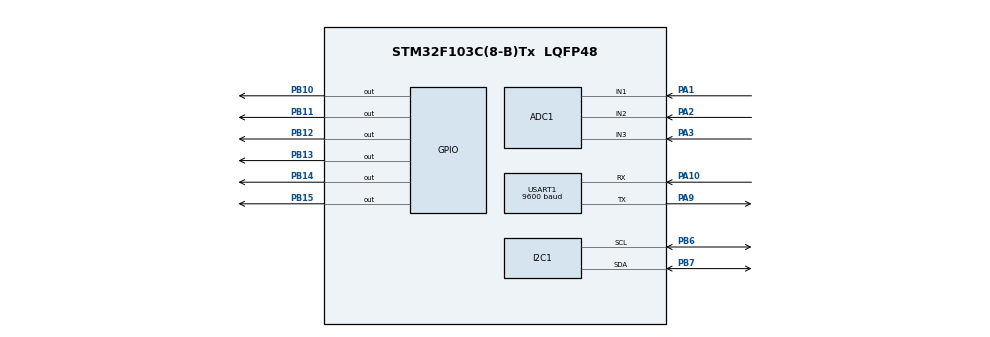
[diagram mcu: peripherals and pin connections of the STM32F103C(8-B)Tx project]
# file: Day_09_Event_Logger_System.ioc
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ADC1.Channel-0\#ChannelRegularConversion=ADC_CHANNEL_1
ADC1.NbrOfConversionFlag=1
ADC1.Rank-0\#ChannelRegularConversion=1
ADC1.SamplingTime-0\#ChannelRegularConversion=ADC_SAMPLETIME_1CYCLE_5
ADC1.master=1
Mcu.Family=STM32F1
Mcu.Name=STM32F103C(8-B)Tx
Mcu.Package=LQFP48
NVIC.PriorityGroup=NVIC_PRIORITYGROUP_4
PA1.Signal=ADCx_IN1
PA10.Mode=Asynchronous
PA10.Signal=USART1_RX
PA2.Signal=ADCx_IN2
PA3.Signal=ADCx_IN3
PA9.Mode=Asynchronous
PA9.Signal=USART1_TX
PB10.Signal=GPIO_Output
PB11.Signal=GPIO_Output
PB12.Signal=GPIO_Output
PB13.Signal=GPIO_Output
PB14.Signal=GPIO_Output
PB15.Signal=GPIO_Output
PB6.Mode=I2C
PB6.Signal=I2C1_SCL
PB7.Mode=I2C
PB7.Signal=I2C1_SDA
ProjectManager.HeapSize=0x200
ProjectManager.StackSize=0x400
ProjectManager.TargetToolchain=STM32CubeIDE
RCC.APB1Freq_Value=8000000
RCC.APB2Freq_Value=8000000
SH.ADCx_IN1.0=ADC1_IN1,IN1
SH.ADCx_IN2.0=ADC1_IN2,IN2
SH.ADCx_IN3.0=ADC1_IN3,IN3
USART1.BaudRate=9600
USART1.VirtualMode=VM_ASYNC
VP_SYS_VS_ND.Mode=No_Debug
board=custom

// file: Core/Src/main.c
/* USER CODE BEGIN Header */
/**
  ******************************************************************************
  * @file           : main.c
  * @brief          : Main program body
  ******************************************************************************
  * @attention
  *
  * Copyright (c) 2026 STMicroelectronics.
  * All rights reserved.
  *
  * This software is licensed under terms that can be found in the LICENSE file
  * in the root directory of this software component.
  * If no LICENSE file comes with this software, it is provided AS-IS.
  *
  ******************************************************************************
  */
/* USER CODE END Header */
#include "main.h"
#include <stdio.h>
#include <string.h>

ADC_HandleTypeDef hadc1;

I2C_HandleTypeDef hi2c1;

UART_HandleTypeDef huart1;

/* USER CODE BEGIN PV */
uint32_t gas_value = 0;
uint32_t temp_value = 0;
uint32_t distance_value = 0;

uint32_t gas_count = 0;
uint32_t temp_count = 0;
uint32_t intruder_count = 0;

char uart_buffer[300];

/* USER CODE END PV */

void SystemClock_Config(void);
static void MX_GPIO_Init(void);
static void MX_ADC1_Init(void);
static void MX_I2C1_Init(void);
static void MX_USART1_UART_Init(void);
/* USER CODE BEGIN PFP */
uint32_t Read_ADC(uint32_t channel);
void Check_Alerts(void);
void Send_Report(void);

/* USER CODE END PFP */

int main(void)
{

  /* MCU Configuration--------------------------------------------------------*/

  /* Reset of all peripherals, Initializes the Flash interface and the Systick. */
  HAL_Init();

  /* Configure the system clock */
  SystemClock_Config();

  /* Initialize all configured peripherals */
  MX_GPIO_Init();
  MX_ADC1_Init();
  MX_I2C1_Init();
  MX_USART1_UART_Init();
  /* USER CODE BEGIN 2 */
  HAL_ADCEx_Calibration_Start(&hadc1);

  /* USER CODE END 2 */

  /* Infinite loop */
  /* USER CODE BEGIN WHILE */
  while (1)
  {
      gas_value = Read_ADC(ADC_CHANNEL_1);
      temp_value = Read_ADC(ADC_CHANNEL_2);
      distance_value = Read_ADC(ADC_CHANNEL_3);

      gas_value = (gas_value * 100) / 4095;
      temp_value = (temp_value * 100) / 4095;
      distance_value = (distance_value * 100) / 4095;

      Check_Alerts();

      Send_Report();

      HAL_Delay(1000);
  }
  /* USER CODE END 3 */
}

void SystemClock_Config(void)
{
  RCC_OscInitTypeDef RCC_OscInitStruct = {0};
  RCC_ClkInitTypeDef RCC_ClkInitStruct = {0};
  RCC_PeriphCLKInitTypeDef PeriphClkInit = {0};

  /** Initializes the RCC Oscillators according to the specified parameters
  * in the RCC_OscInitTypeDef structure.
  */
  RCC_OscInitStruct.OscillatorType = RCC_OSCILLATORTYPE_HSI;
  RCC_OscInitStruct.HSIState = RCC_HSI_ON;
  RCC_OscInitStruct.HSICalibrationValue = RCC_HSICALIBRATION_DEFAULT;
  RCC_OscInitStruct.PLL.PLLState = RCC_PLL_NONE;
  if (HAL_RCC_OscConfig(&RCC_OscInitStruct) != HAL_OK)
  {
    Error_Handler();
  }

  /** Initializes the CPU, AHB and APB buses clocks
  */
  RCC_ClkInitStruct.ClockType = RCC_CLOCKTYPE_HCLK|RCC_CLOCKTYPE_SYSCLK
                              |RCC_CLOCKTYPE_PCLK1|RCC_CLOCKTYPE_PCLK2;
  RCC_ClkInitStruct.SYSCLKSource = RCC_SYSCLKSOURCE_HSI;
  RCC_ClkInitStruct.AHBCLKDivider = RCC_SYSCLK_DIV1;
  RCC_ClkInitStruct.APB1CLKDivider = RCC_HCLK_DIV1;
  RCC_ClkInitStruct.APB2CLKDivider = RCC_HCLK_DIV1;

  if (HAL_RCC_ClockConfig(&RCC_ClkInitStruct, FLASH_LATENCY_0) != HAL_OK)
  {
    Error_Handler();
  }
  PeriphClkInit.PeriphClockSelection = RCC_PERIPHCLK_ADC;
  PeriphClkInit.AdcClockSelection = RCC_ADCPCLK2_DIV2;
  if (HAL_RCCEx_PeriphCLKConfig(&PeriphClkInit) != HAL_OK)
  {
    Error_Handler();
  }
}

static void MX_ADC1_Init(void)
{

  ADC_ChannelConfTypeDef sConfig = {0};

  /** Common config
  */
  hadc1.Instance = ADC1;
  hadc1.Init.ScanConvMode = ADC_SCAN_ENABLE;
  hadc1.Init.ContinuousConvMode = DISABLE;
  hadc1.Init.DiscontinuousConvMode = DISABLE;
  hadc1.Init.ExternalTrigConv = ADC_SOFTWARE_START;
  hadc1.Init.DataAlign = ADC_DATAALIGN_RIGHT;
  hadc1.Init.NbrOfConversion = 1;
  if (HAL_ADC_Init(&hadc1) != HAL_OK)
  {
    Error_Handler();
  }

  /** Configure Regular Channel
  */
  sConfig.Channel = ADC_CHANNEL_1;
  sConfig.Rank = ADC_REGULAR_RANK_1;
  sConfig.SamplingTime = ADC_SAMPLETIME_1CYCLE_5;
  if (HAL_ADC_ConfigChannel(&hadc1, &sConfig) != HAL_OK)
  {
    Error_Handler();
  }

}

static void MX_I2C1_Init(void)
{

  hi2c1.Instance = I2C1;
  hi2c1.Init.ClockSpeed = 100000;
  hi2c1.Init.DutyCycle = I2C_DUTYCYCLE_2;
  hi2c1.Init.OwnAddress1 = 0;
  hi2c1.Init.AddressingMode = I2C_ADDRESSINGMODE_7BIT;
  hi2c1.Init.DualAddressMode = I2C_DUALADDRESS_DISABLE;
  hi2c1.Init.OwnAddress2 = 0;
  hi2c1.Init.GeneralCallMode = I2C_GENERALCALL_DISABLE;
  hi2c1.Init.NoStretchMode = I2C_NOSTRETCH_DISABLE;
  if (HAL_I2C_Init(&hi2c1) != HAL_OK)
  {
    Error_Handler();
  }

}

static void MX_USART1_UART_Init(void)
{

  huart1.Instance = USART1;
  huart1.Init.BaudRate = 9600;
  huart1.Init.WordLength = UART_WORDLENGTH_8B;
  huart1.Init.StopBits = UART_STOPBITS_1;
  huart1.Init.Parity = UART_PARITY_NONE;
  huart1.Init.Mode = UART_MODE_TX_RX;
  huart1.Init.HwFlowCtl = UART_HWCONTROL_NONE;
  huart1.Init.OverSampling = UART_OVERSAMPLING_16;
  if (HAL_UART_Init(&huart1) != HAL_OK)
  {
    Error_Handler();
  }

}

static void MX_GPIO_Init(void)
{
  GPIO_InitTypeDef GPIO_InitStruct = {0};

  /* GPIO Ports Clock Enable */
  __HAL_RCC_GPIOA_CLK_ENABLE();
  __HAL_RCC_GPIOB_CLK_ENABLE();

  /*Configure GPIO pin Output Level */
  HAL_GPIO_WritePin(GPIOB, GPIO_PIN_10|GPIO_PIN_11|GPIO_PIN_12|GPIO_PIN_13
                          |GPIO_PIN_14|GPIO_PIN_15, GPIO_PIN_RESET);

  /*Configure GPIO pins : PB10 PB11 PB12 PB13
                           PB14 PB15 */
  GPIO_InitStruct.Pin = GPIO_PIN_10|GPIO_PIN_11|GPIO_PIN_12|GPIO_PIN_13
                          |GPIO_PIN_14|GPIO_PIN_15;
  GPIO_InitStruct.Mode = GPIO_MODE_OUTPUT_PP;
  GPIO_InitStruct.Pull = GPIO_NOPULL;
  GPIO_InitStruct.Speed = GPIO_SPEED_FREQ_LOW;
  HAL_GPIO_Init(GPIOB, &GPIO_InitStruct);

}

/* USER CODE BEGIN 4 */
uint32_t Read_ADC(uint32_t channel)
{
    ADC_ChannelConfTypeDef sConfig = {0};

    sConfig.Channel = channel;
    sConfig.Rank = ADC_REGULAR_RANK_1;
    sConfig.SamplingTime = ADC_SAMPLETIME_71CYCLES_5;

    HAL_ADC_ConfigChannel(&hadc1, &sConfig);

    HAL_ADC_Start(&hadc1);

    HAL_ADC_PollForConversion(&hadc1,
                              HAL_MAX_DELAY);

    return HAL_ADC_GetValue(&hadc1);
}

void Check_Alerts(void)
{
    HAL_GPIO_WritePin(GPIOB,
                      GPIO_PIN_12 |
                      GPIO_PIN_13 |
                      GPIO_PIN_14 |
                      GPIO_PIN_15,
                      GPIO_PIN_RESET);

    if(gas_value > 60)
    {
        gas_count++;

        HAL_GPIO_WritePin(GPIOB,
                          GPIO_PIN_12,
                          GPIO_PIN_SET);

        HAL_GPIO_WritePin(GPIOB,
                          GPIO_PIN_15,
                          GPIO_PIN_SET);
    }

    if(temp_value > 70)
    {
        temp_count++;

        HAL_GPIO_WritePin(GPIOB,
                          GPIO_PIN_13,
                          GPIO_PIN_SET);

        HAL_GPIO_WritePin(GPIOB,
                          GPIO_PIN_15,
                          GPIO_PIN_SET);
    }

    if(distance_value < 30)
    {
        intruder_count++;

        HAL_GPIO_WritePin(GPIOB,
                          GPIO_PIN_14,
                          GPIO_PIN_SET);

        HAL_GPIO_WritePin(GPIOB,
                          GPIO_PIN_15,
                          GPIO_PIN_SET);
    }
}

void Send_Report(void)
{
    uint32_t total_faults =
        gas_count +
        temp_count +
        intruder_count;

    sprintf(uart_buffer,

"\r\n===== EVENT LOGGER =====\r\n"
"Gas Alerts      : %lu\r\n"
"Temp Alerts     : %lu\r\n"
"Intruder Alerts : %lu\r\n"
"\r\n"
"Total Faults    : %lu\r\n"
"\r\n"
"Gas Value       : %lu %%\r\n"
"Temp Value      : %lu %%\r\n"
"Distance Value  : %lu %%\r\n"
"========================\r\n",

gas_count,
temp_count,
intruder_count,
total_faults,
gas_value,
temp_value,
distance_value);

    HAL_UART_Transmit(&huart1,
                      (uint8_t*)uart_buffer,
                      strlen(uart_buffer),
                      HAL_MAX_DELAY);
}

/* USER CODE END 4 */

void Error_Handler(void)
{
  __disable_irq();
  while (1)
  {
  }
}
